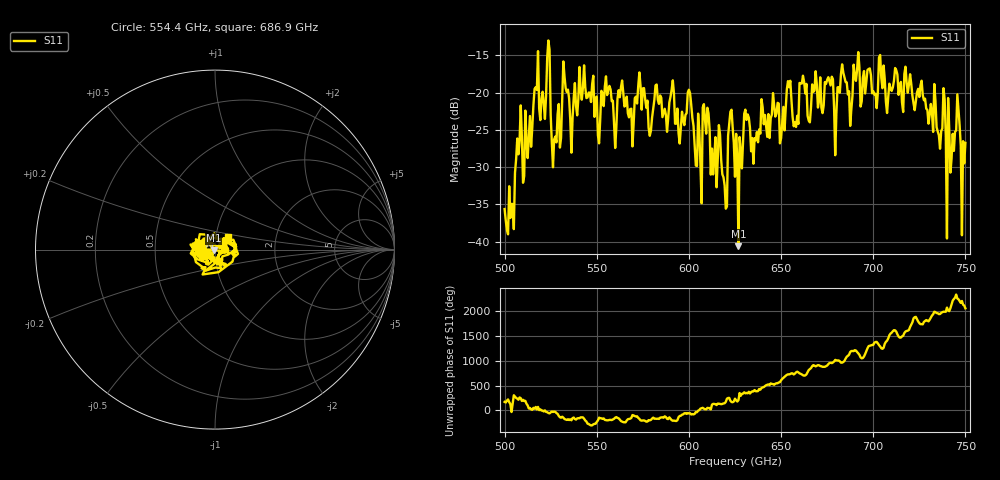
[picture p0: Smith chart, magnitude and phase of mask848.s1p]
!Created with skrf (http://scikit-rf.org).
# GHz S MA R 50.0
!freq magS11 angS11
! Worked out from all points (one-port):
!   401 points, 500 GHz to 750 GHz, reference 50 ohm
!   lowest |S11| = -40.6 dB at 626.9 GHz (marker M1), VSWR 1.02, Z = 49.2 - j0.418 ohm
!   |S11| at or under -10 dB: start of sweep to end of sweep
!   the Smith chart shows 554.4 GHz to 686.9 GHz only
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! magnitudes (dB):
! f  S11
! 500 GHz  -35.6
! 516.9 GHz  -19.3
! 523.8 GHz  -13.0
! 526.9 GHz  -26.3
! 531.2 GHz  -20.9
! 562.5 GHz  -20.6
! 579.4 GHz  -25.1
! 590.6 GHz  -19.6
! 593.8 GHz  -22.1
! 600.6 GHz  -20.1
! 605.6 GHz  -25.2
! 609.4 GHz  -25.5
! 619.4 GHz  -32.4
! 622.5 GHz  -22.6
! 625 GHz  -31.3
! 626.9 GHz  -40.6
! 631.2 GHz  -23.7
! 635 GHz  -29.5
! 656.2 GHz  -23.3
! 680 GHz  -22.8
! 683.8 GHz  -17.3
! 687.5 GHz  -24.5
! 690.6 GHz  -18.4
! 718.8 GHz  -20.0
! 738.1 GHz  -19.4
! 741.2 GHz  -25.0
! 745.6 GHz  -20.2
! 750 GHz  -26.7
